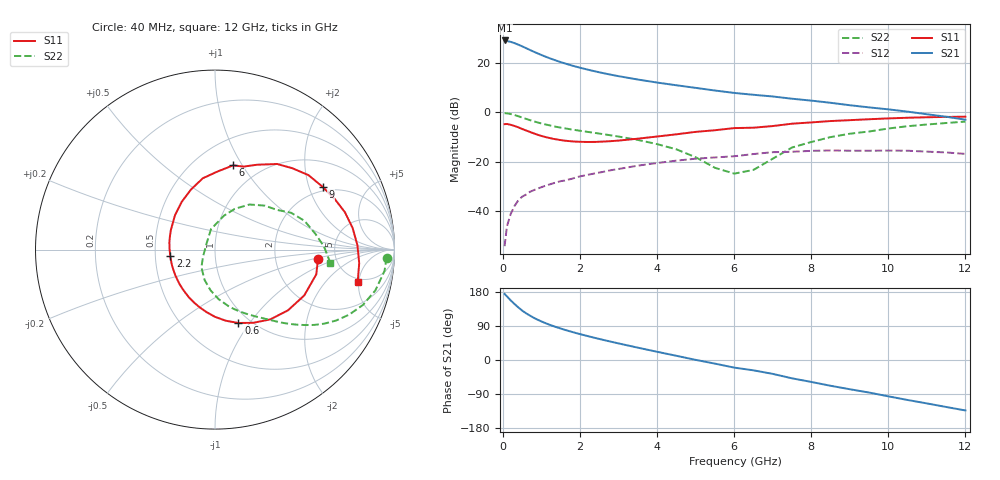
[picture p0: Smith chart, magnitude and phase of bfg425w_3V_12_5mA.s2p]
! Filename: 312bfg425.001
! BFG425W Field C1
! V1=8.437E-001V,V2=3.000E+000V, I1=1.606E-004A, I2=1.251E-002A
# GHz  S  MA  R 50
!  S11  S21  S12  S22
!Freq(GHz)  Mag  Ang  Mag  Ang  Mag  Ang  Mag  Ang
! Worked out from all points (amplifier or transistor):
!   44 points, 40 MHz to 12 GHz, reference 50 ohm
!   highest |S21| = 29.0 dB at 40 MHz (marker M1)
!   |S21| within 3 dB of that: start of sweep to 582.3 MHz
!   unconditionally stable (mu >= 1): 1.676 GHz to end of sweep
!   at 700 MHz: K = 0.60, MSG = 28.6 dB, |S12| = -32.0 dB
!   at 2.4 GHz: K = 1.12, MAG = 18.4 dB, |S12| = -24.6 dB
!   at 12 GHz: K = 1.37, MAG = 3.2 dB, |S12| = -16.8 dB
!   S11 on the Smith chart (normalised r, x): 40 MHz: 3.62, -0.58; 600 MHz: 0.88, -0.88; 2.2 GHz: 0.60, -0.05; 6 GHz: 0.75, +0.91; 9 GHz: 1.83, +2.47; 12 GHz: 4.56, -4.84
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0.04  0.576 -5.4  28.06 174.3  0.002 65.3  0.957 -2.7
0.1  0.581 -13.7  27.34 167.9  0.005 81.2  0.952 -7.2
0.2  0.559 -27.2  26.25 157.1  0.009 75.6  0.922 -14.3
0.3  0.529 -39.8  24.71 147.4  0.013 71.4  0.88 -20.5
0.4  0.496 -51.6  23.02 138.4  0.017 66.5  0.831 -25.8
0.5  0.46 -62.5  21.29 130.1  0.02 63.2  0.782 -30.4
0.6  0.429 -72.4  19.57 123.1  0.022 60.8  0.736 -34.1
0.8  0.375 -89.9  16.61 111.3  0.027 56.9  0.656 -39.9
0.9  0.352 -97.5  15.37 106.2  0.029 55.5  0.623 -42.2
1  0.333 -104.8  14.24 101.6  0.031 54.4  0.594 -44.3
1.2  0.304 -118.2  12.37 93.3  0.035 52.6  0.546 -48.0
1.6  0.268 -141.9  9.689 79.7  0.042 50.0  0.475 -54.2
2.2  0.252 -171.5  7.229 63.0  0.055 45.4  0.402 -63.3
3  0.269 156.1  5.344 43.7  0.072 37.5  0.324 -76.6
3.5  0.294 139.3  4.572 32.5  0.084 31.5  0.277 -85.8
4.5  0.36 111.9  3.504 11.1  0.106 17.7  0.179 -108.9
6  0.48 77.9  2.456 -20.1  0.13 -6.0  0.058 144.2
6.5  0.489 71.0  2.254 -27.3  0.144 -8.9  0.069 125.7
8.5  0.666 38.5  1.555 -68.0  0.17 -45.7  0.316 52.7
9  0.694 30.3  1.388 -77.2  0.168 -54.0  0.37 41.5
10.5  0.776 9.0  1.031 -105.5  0.168 -81.1  0.524 17.8
12  0.815 -12.6  0.708 -133.1  0.145 -111.4  0.648 -6.8
